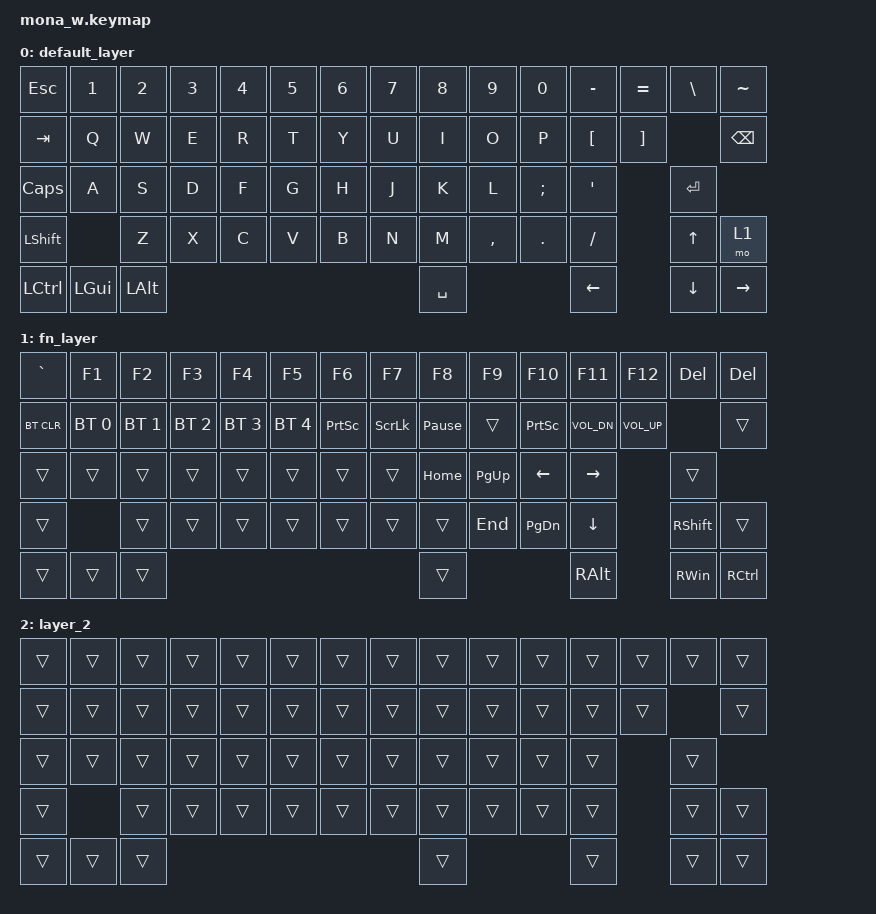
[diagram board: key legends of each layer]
/*
 * Copyright (c) 2023 Ramon Imbao
 *
 * SPDX-License-Identifier: MIT
 */

#include <behaviors.dtsi>
#include <dt-bindings/zmk/bt.h>
#include <dt-bindings/zmk/keys.h>

/ {
    keymap {
        compatible = "zmk,keymap";

        default_layer {
            bindings = <
&kp ESC    &kp N1    &kp N2    &kp N3  &kp N4  &kp N5  &kp N6  &kp N7  &kp N8     &kp N9     &kp N0    &kp MINUS       &kp EQUAL  &kp BACKSLASH   &kp TILDE
&kp TAB    &kp Q     &kp W     &kp E   &kp R   &kp T   &kp Y   &kp U   &kp I      &kp O      &kp P     &kp LBKT        &kp RBKT                   &kp BACKSPACE
&kp CAPS   &kp A     &kp S     &kp D   &kp F   &kp G   &kp H   &kp J   &kp K      &kp L      &kp SEMI  &kp APOS                   &kp ENTER
&kp LSHFT            &kp Z     &kp X   &kp C   &kp V   &kp B   &kp N   &kp M      &kp COMMA  &kp DOT   &kp SLASH                  &kp UP_ARROW    &mo 1
&kp LCTRL  &kp LGUI  &kp LALT                                          &kp SPACE                       &kp LEFT_ARROW             &kp DOWN_ARROW  &kp RIGHT_ARROW
            >;
        };

        fn_layer {
            bindings = <
&kp GRAVE   &kp F1        &kp F2        &kp F3        &kp F4        &kp F5        &kp F6     &kp F7    &kp F8           &kp F9     &kp F10          &kp F11        &kp F12          &kp DELETE       &kp DELETE
&bt BT_CLR  &bt BT_SEL 0  &bt BT_SEL 1  &bt BT_SEL 2  &bt BT_SEL 3  &bt BT_SEL 4  &kp PSCRN  &kp SLCK  &kp PAUSE_BREAK  &trans     &kp PRINTSCREEN  &kp C_VOL_DN   &kp C_VOLUME_UP                   &trans
&trans      &trans        &trans        &trans        &trans        &trans        &trans     &trans    &kp HOME         &kp PG_UP  &kp LEFT         &kp RIGHT                       &trans
&trans                    &trans        &trans        &trans        &trans        &trans     &trans    &trans           &kp END    &kp PG_DN        &kp DOWN                        &kp RIGHT_SHIFT  &trans
&trans      &trans        &trans                                                                       &trans                                       &kp RIGHT_ALT                   &kp RWIN         &kp RIGHT_CONTROL
            >;
        };

        layer_2 {
            bindings = <
&trans  &trans  &trans  &trans  &trans  &trans  &trans  &trans  &trans  &trans  &trans  &trans  &trans  &trans  &trans
&trans  &trans  &trans  &trans  &trans  &trans  &trans  &trans  &trans  &trans  &trans  &trans  &trans          &trans
&trans  &trans  &trans  &trans  &trans  &trans  &trans  &trans  &trans  &trans  &trans  &trans          &trans
&trans          &trans  &trans  &trans  &trans  &trans  &trans  &trans  &trans  &trans  &trans          &trans  &trans
&trans  &trans  &trans                                          &trans                  &trans          &trans  &trans
            >;
        };
    };
};
